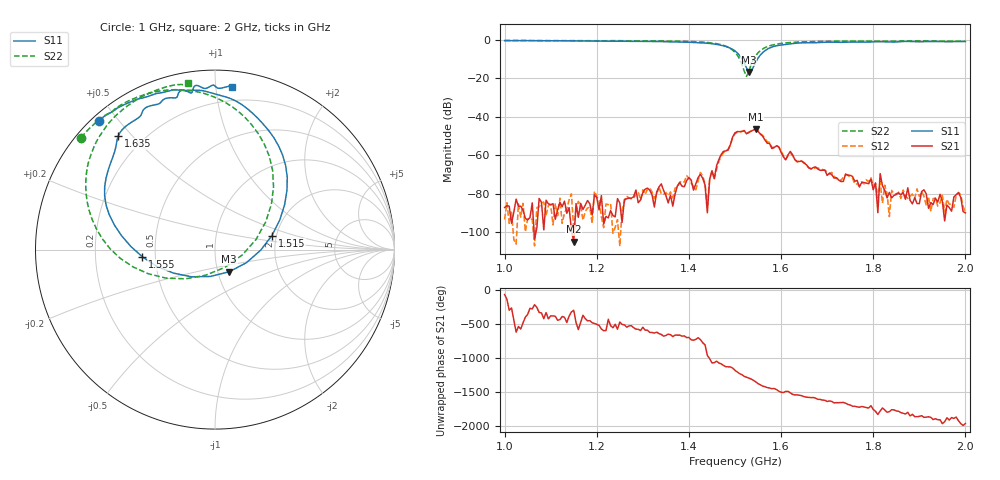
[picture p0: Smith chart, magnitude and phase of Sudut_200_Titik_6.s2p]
# Hz S RI R 50
! CMT, C1220, 16058040, 17.2.0/1
! Date: 14/08/2018 12:23:13
! Data: Format (Calibration Info)
! Freq  S11: Re/Im (F2)  S21: Re/Im (F2)  S12: Re/Im (F2)  S22: Re/Im (F2)
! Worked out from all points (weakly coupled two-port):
!   201 points, 1 GHz to 2 GHz, reference 50 ohm
!   highest |S21| = -46.33 dB at 1.545 GHz (marker M1); lowest = -105.0 dB at 1.15 GHz (marker M2)
!   lowest |S11| = -16.7 dB at 1.53 GHz (marker M3), VSWR 1.34, Z = 56.6 - j14.3 ohm
!   |S11| at or under -10 dB: 1.516 GHz to 1.549 GHz (32.98 MHz wide, 2.15 % of centre)
!   |S22| runs from -18.9 to -0.2 dB; largest |S21 - S12| = 0.00028
!   S11 on the Smith chart (normalised r, x): 1 GHz: 0.02, +0.44; 1.515 GHz: 1.89, +0.33; 1.555 GHz: 0.42, -0.04; 1.635 GHz: 0.11, +0.46; 2 GHz: 0.10, +1.11
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1e9  -0.6457 0.7157  1.33e-05 -4.18e-05  1.92e-05 9.41e-06  -0.7479 0.6243
1.15e9  -0.4903 0.8146  2.94e-06 4.77e-06  -1.05e-05 -4.84e-06  -0.6315 0.7341
1.17e9  -0.4687 0.8237  3.73e-05 -1.1e-05  8.03e-07 -2.03e-05  -0.6113 0.7487
1.335e9  -0.2024 0.8887  3.88e-05 0.000145  3.72e-05 0.000145  -0.3963 0.8623
1.395e9  -0.0387 0.8782  0.000208 6.71e-05  0.00026 0.000141  -0.2397 0.8904
1.415e9  0.0386 0.8566  0.000181 -2.67e-05  0.000126 8.16e-06  -0.1619 0.8885
1.425e9  0.0831 0.8427  0.000312 -6.83e-05  0.000334 -0.000124  -0.1158 0.8824
1.44e9  0.1424 0.8125  -1.41e-05 2.86e-05  -5.06e-05 5.08e-06  -0.0371 0.8625
1.45e9  0.1853 0.7806  0.000393 4.91e-05  0.000404 5.01e-05  0.0246 0.837
1.455e9  0.2105 0.7586  0.000246 4.29e-05  0.000234 8.75e-06  0.0581 0.8194
1.5e9  0.4009 0.3293  -0.000758 -0.00377  -0.000664 -0.00358  0.3261 0.3501
1.515e9  0.3172 0.0785  -0.00402 -0.00107  -0.00402 -0.00127  0.2285 0.0561
1.53e9  0.0784 -0.1238  -0.00318 0.00223  -0.00337 0.00223  -0.0513 -0.1426
1.545e9  -0.2314 -0.131  6.84e-05 0.00482  -6.99e-05 0.00477  -0.3708 -0.1348
1.555e9  -0.4046 -0.0403  0.00245 0.00256  0.00236 0.0028  -0.5263 -0.0499
1.635e9  -0.5387 0.6339  -0.000125 -0.000676  -0.000147 -0.000656  -0.6777 0.5642
1.67e9  -0.4276 0.7334  -0.000368 -0.000311  -0.00035 -0.000279  -0.6177 0.6711
1.795e9  -0.2061 0.8648  -4.3e-05 0.000238  0.000152 0.000213  -0.4251 0.8411
1.81e9  -0.1883 0.8861  2.83e-05 -1.52e-05  1.61e-05 7.79e-05  -0.4044 0.8533
1.815e9  -0.1786 0.8872  0.00031 0.000126  0.000148 0.000149  -0.3977 0.8567
1.835e9  -0.1366 0.8734  0.000105 2.29e-05  2.4e-05 8.66e-06  -0.3712 0.8697
2e9  0.0975 0.9064  -3e-05 -1.05e-05  -4.66e-06 -3.09e-05  -0.1485 0.9278
